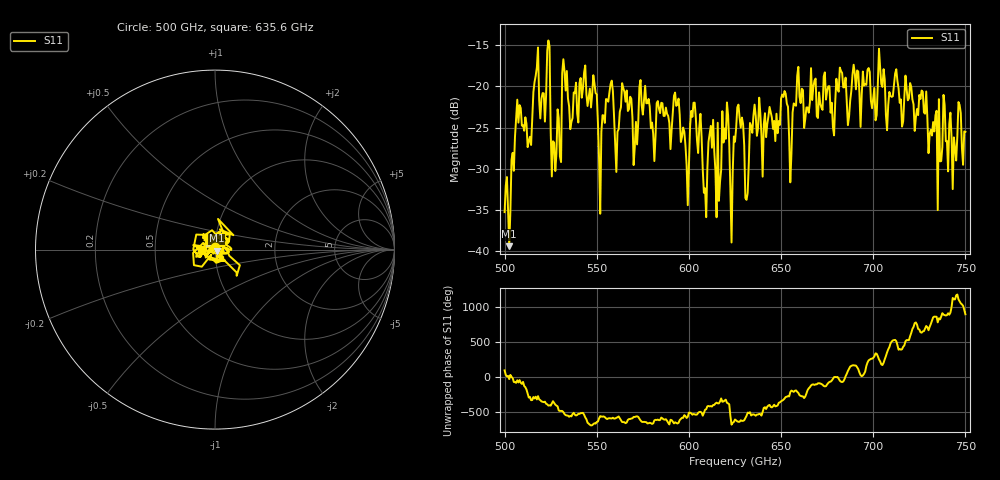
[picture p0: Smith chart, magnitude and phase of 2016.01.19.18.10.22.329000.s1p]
!Created with skrf (http://scikit-rf.org).
# GHz S RI R 50.0
!freq ReS11 ImS11
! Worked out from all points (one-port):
!   401 points, 500 GHz to 750 GHz, reference 50 ohm
!   lowest |S11| = -39.4 dB at 502.5 GHz (marker M1), VSWR 1.02, Z = 50.9 - j0.576 ohm
!   |S11| at or under -10 dB: start of sweep to end of sweep
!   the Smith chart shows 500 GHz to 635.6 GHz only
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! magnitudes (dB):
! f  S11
! 500 GHz  -35.3
! 502.5 GHz  -39.4
! 507.5 GHz  -24.4
! 513.8 GHz  -26.1
! 516.9 GHz  -18.7
! 523.8 GHz  -14.4
! 526.9 GHz  -26.8
! 531.2 GHz  -18.4
! 548.8 GHz  -19.7
! 551.9 GHz  -35.4
! 556.9 GHz  -20.7
! 562.5 GHz  -23.1
! 593.8 GHz  -22.2
! 598.8 GHz  -29.6
! 602.5 GHz  -22.0
! 608.8 GHz  -32.4
! 611.9 GHz  -24.8
! 615.6 GHz  -24.4
! 625 GHz  -26.7
! 628.1 GHz  -25.0
! 631.2 GHz  -33.8
! 635 GHz  -23.5
! 656.2 GHz  -23.2
! 660 GHz  -21.3
! 687.5 GHz  -21.7
! 718.8 GHz  -21.7
! 736.2 GHz  -29.1
! 750 GHz  -25.5
